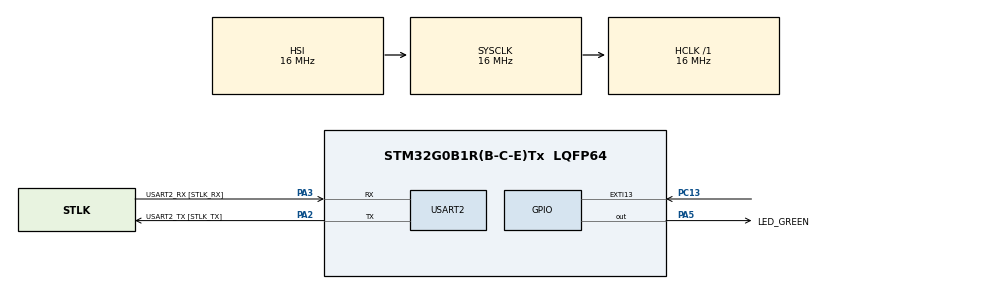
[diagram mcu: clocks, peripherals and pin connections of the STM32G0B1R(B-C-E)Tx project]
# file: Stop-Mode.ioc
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IWDG.Prescaler=IWDG_PRESCALER_256
IWDG.Reload=500
Mcu.Family=STM32G0
Mcu.Name=STM32G0B1R(B-C-E)Tx
Mcu.Package=LQFP64
NVIC.EXTI4_15_IRQn=true\:0\:0\:false\:false\:true\:true\:true\:true
PA13.GPIO_Label=TMS
PA13.Mode=Serial_Wire
PA13.Signal=SYS_SWDIO
PA14-BOOT0.GPIO_Label=TCK
PA14-BOOT0.Mode=Serial_Wire
PA14-BOOT0.Signal=SYS_SWCLK
PA2.GPIO_Label=USART2_TX [STLK_TX]
PA2.Mode=Asynchronous
PA2.Signal=USART2_TX
PA3.GPIO_Label=USART2_RX [STLK_RX]
PA3.Mode=Asynchronous
PA3.Signal=USART2_RX
PA5.GPIO_Label=LED_GREEN
PA5.GPIO_Speed=GPIO_SPEED_FREQ_HIGH
PA5.Signal=GPIO_Output
PC13.GPIO_ModeDefaultEXTI=GPIO_MODE_IT_FALLING
PC13.Signal=GPXTI13
PC14-OSC32_IN\ (PC14).Mode=LSE-External-Oscillator
PC14-OSC32_IN\ (PC14).Signal=RCC_OSC32_IN
PC15-OSC32_OUT\ (PC15).Mode=LSE-External-Oscillator
PC15-OSC32_OUT\ (PC15).Signal=RCC_OSC32_OUT
PF0-OSC_IN\ (PF0).GPIO_Label=MCO
PF0-OSC_IN\ (PF0).Mode=HSE-External-Clock-Source
PF0-OSC_IN\ (PF0).Signal=RCC_OSC_IN
ProjectManager.HeapSize=0x200
ProjectManager.StackSize=0x400
ProjectManager.TargetToolchain=STM32CubeIDE
RCC.AHBFreq_Value=16000000
RCC.CortexFreq_Value=16000000
RCC.EXTERNAL_CLOCK_VALUE=12288000
RCC.HCLKFreq_Value=16000000
RCC.HSE_VALUE=8000000
RCC.HSI48_VALUE=48000000
RCC.HSI_VALUE=16000000
RCC.SYSCLKFreq_VALUE=16000000
RCC.USBFreq_Value=48000000
RCC.VCOOutputFreq_Value=128000000
RTC.Date=28
RTC.WeekDay=RTC_WEEKDAY_WEDNESDAY
RTC.Year=26
USART2.VirtualMode-Asynchronous=VM_ASYNC
VP_IWDG_VS_IWDG.Mode=IWDG_Activate
VP_RTC_VS_RTC_Activate.Mode=RTC_Enabled
VP_RTC_VS_RTC_Calendar.Mode=RTC_Calendar
VP_SYS_VS_DBSignals.Mode=DisableDeadBatterySignals
board=NUCLEO-G0B1RE

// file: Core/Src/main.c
/* USER CODE BEGIN Header */
/**
  ******************************************************************************
  * @file           : main.c
  * @brief          : Main program body
  ******************************************************************************
  * @attention
  *
  * Copyright (c) 2026 STMicroelectronics.
  * All rights reserved.
  *
  * This software is licensed under terms that can be found in the LICENSE file
  * in the root directory of this software component.
  * If no LICENSE file comes with this software, it is provided AS-IS.
  *
  ******************************************************************************
  */
/* USER CODE END Header */
#include "main.h"

/* USER CODE BEGIN Includes */
#include <stdio.h>
/* USER CODE END Includes */

IWDG_HandleTypeDef hiwdg;

RTC_HandleTypeDef hrtc;

UART_HandleTypeDef huart2;

/* USER CODE BEGIN PV */
uint8_t delay = 200;
RTC_TimeTypeDef hTime = {0};
RTC_DateTypeDef hDate = {0};

/* USER CODE END PV */

void SystemClock_Config(void);
static void MX_GPIO_Init(void);
static void MX_USART2_UART_Init(void);
static void MX_RTC_Init(void);
static void MX_IWDG_Init(void);

int main(void)
{

  /* USER CODE BEGIN 1 */
	uint8_t count = 0;
  /* USER CODE END 1 */

  /* MCU Configuration--------------------------------------------------------*/

  /* Reset of all peripherals, Initializes the Flash interface and the Systick. */
  HAL_Init();

  /* Configure the system clock */
  SystemClock_Config();

  /* Initialize all configured peripherals */
  MX_GPIO_Init();
  MX_USART2_UART_Init();
  MX_RTC_Init();
  MX_IWDG_Init();
  /* USER CODE BEGIN 2 */
  while(HAL_GPIO_ReadPin(GPIOC, GPIO_PIN_13) == GPIO_PIN_RESET)		// Wait realese Boton
	  HAL_IWDG_Refresh(&hiwdg);

  /* USER CODE END 2 */

  /* Infinite loop */
  /* USER CODE BEGIN WHILE */
  while (1)
  {
	  if(HAL_GPIO_ReadPin(GPIOC, GPIO_PIN_13) == GPIO_PIN_RESET){
		  HAL_Delay(50);		// Delay of 50 miliseconds
		  if(HAL_GPIO_ReadPin(GPIOC, GPIO_PIN_13) == GPIO_PIN_RESET){
			  while(HAL_GPIO_ReadPin(GPIOC, GPIO_PIN_13) == GPIO_PIN_RESET)	// Release the button
				  HAL_IWDG_Refresh(&hiwdg);

			  HAL_Delay(50);

			  // Disable Ports and Peripherals to decrease the  current consumption
			  // Except RTC and IWDG

			  // GPIOs in Analog mode to reduce current consumption
			  GPIOA->MODER |= 0xFFFFFFFF;
			  GPIOB->MODER |= 0xFFFFFFFF;
			  GPIOC->MODER |= 0xF3FFFFFF;		// PC13 is used to be Wake-up Pin
			  GPIOD->MODER |= 0xFFFFFFFF;
			  GPIOE->MODER |= 0xFFFFFFFF;
			  GPIOF->MODER |= 0xFFFFFFFF;

			  __HAL_RCC_GPIOA_CLK_DISABLE();
			  __HAL_RCC_GPIOB_CLK_DISABLE();
			  //__HAL_RCC_GPIOC_CLK_DISABLE();		// Not Disable C port Clock
			  __HAL_RCC_GPIOD_CLK_DISABLE();
			  __HAL_RCC_GPIOE_CLK_DISABLE();
			  __HAL_RCC_GPIOF_CLK_DISABLE();

			  if(HAL_UART_DeInit(&huart2) != HAL_OK)	// Disable UART
				  Error_Handler();

			  HAL_DBGMCU_DisableDBGStopMode();		// Disable Debugger

			  HAL_SuspendTick(); 						// SysTick interrupt will be disabled
			  HAL_NVIC_EnableIRQ(EXTI4_15_IRQn);		// Enable Pin Interrupt to exit of the STOP Mode

			  //HAL_PWREx_DisableFlashPowerDown(PWR_FLASHPD_STOP);	// Flash Memory is idle
			  HAL_PWREx_EnableFlashPowerDown(PWR_FLASHPD_STOP);		// Flash Memory is powered down

			  //HAL_PWREx_EnablePORMonitorSampling();		// enable ultra low power modes

			  //HAL_PWR_EnterSTOPMode(PWR_MAINREGULATOR_ON, PWR_STOPENTRY_WFI); 	// STOP0
			  HAL_PWR_EnterSTOPMode(PWR_LOWPOWERREGULATOR_ON, PWR_STOPENTRY_WFI); 	// STOP1
			  HAL_ResumeTick();			// SysTick interrupt will be enabled

			  // Reconfiguration Ports and Peripherals
			  MX_GPIO_Init();
			  MX_USART2_UART_Init();
			  HAL_PWREx_DisablePORMonitorSampling();		// disable ultra low power modes

			  delay = 100;
			  HAL_Delay(50);
			  while(HAL_GPIO_ReadPin(GPIOC, GPIO_PIN_13) == GPIO_PIN_RESET)
				  HAL_IWDG_Refresh(&hiwdg);		// Remember you can use option bytes (IWDG_STOP) to freeze IWDG counter
		  }

	}

	  // Toggle Led Pin
	  HAL_Delay(delay);
	  HAL_GPIO_TogglePin(LED_GREEN_GPIO_Port, LED_GREEN_Pin);

	  // Obtain the Date and Time
	  HAL_RTC_GetDate(&hrtc, &hDate, RTC_FORMAT_BIN);
	  HAL_RTC_GetTime(&hrtc, &hTime, RTC_FORMAT_BIN);

	  count++;
	  if(count == 10){
		  count = 0;
		  printf("%02d:%02d:%02d  %02d/%02d/20%02d\r\n",
				  hTime.Hours,
				  hTime.Minutes,
				  hTime.Seconds,
				  hDate.Date,
				  hDate.Month,
				  hDate.Year);
	  	  }

	  HAL_IWDG_Refresh(&hiwdg);		// Refresh IWDG,	Remember, uncheck IWDG_STDBY to Freeze IWDDG counter in standby mode

    /* USER CODE END WHILE */

  }
}

void SystemClock_Config(void)
{
  RCC_OscInitTypeDef RCC_OscInitStruct = {0};
  RCC_ClkInitTypeDef RCC_ClkInitStruct = {0};

  /** Configure the main internal regulator output voltage
  */
  HAL_PWREx_ControlVoltageScaling(PWR_REGULATOR_VOLTAGE_SCALE1);

  /** Initializes the RCC Oscillators according to the specified parameters
  * in the RCC_OscInitTypeDef structure.
  */
  RCC_OscInitStruct.OscillatorType = RCC_OSCILLATORTYPE_HSI|RCC_OSCILLATORTYPE_LSI;
  RCC_OscInitStruct.HSIState = RCC_HSI_ON;
  RCC_OscInitStruct.HSIDiv = RCC_HSI_DIV1;
  RCC_OscInitStruct.HSICalibrationValue = RCC_HSICALIBRATION_DEFAULT;
  RCC_OscInitStruct.LSIState = RCC_LSI_ON;
  RCC_OscInitStruct.PLL.PLLState = RCC_PLL_NONE;
  if (HAL_RCC_OscConfig(&RCC_OscInitStruct) != HAL_OK)
  {
    Error_Handler();
  }

  /** Initializes the CPU, AHB and APB buses clocks
  */
  RCC_ClkInitStruct.ClockType = RCC_CLOCKTYPE_HCLK|RCC_CLOCKTYPE_SYSCLK
                              |RCC_CLOCKTYPE_PCLK1;
  RCC_ClkInitStruct.SYSCLKSource = RCC_SYSCLKSOURCE_HSI;
  RCC_ClkInitStruct.AHBCLKDivider = RCC_SYSCLK_DIV1;
  RCC_ClkInitStruct.APB1CLKDivider = RCC_HCLK_DIV1;

  if (HAL_RCC_ClockConfig(&RCC_ClkInitStruct, FLASH_LATENCY_0) != HAL_OK)
  {
    Error_Handler();
  }
}

static void MX_IWDG_Init(void)
{

  hiwdg.Instance = IWDG;
  hiwdg.Init.Prescaler = IWDG_PRESCALER_256;
  hiwdg.Init.Window = 4095;
  hiwdg.Init.Reload = 500;
  if (HAL_IWDG_Init(&hiwdg) != HAL_OK)
  {
    Error_Handler();
  }

}

static void MX_RTC_Init(void)
{

  RTC_TimeTypeDef sTime = {0};
  RTC_DateTypeDef sDate = {0};

  /** Initialize RTC Only
  */
  hrtc.Instance = RTC;
  hrtc.Init.HourFormat = RTC_HOURFORMAT_24;
  hrtc.Init.AsynchPrediv = 127;
  hrtc.Init.SynchPrediv = 255;
  hrtc.Init.OutPut = RTC_OUTPUT_DISABLE;
  hrtc.Init.OutPutRemap = RTC_OUTPUT_REMAP_NONE;
  hrtc.Init.OutPutPolarity = RTC_OUTPUT_POLARITY_HIGH;
  hrtc.Init.OutPutType = RTC_OUTPUT_TYPE_OPENDRAIN;
  hrtc.Init.OutPutPullUp = RTC_OUTPUT_PULLUP_NONE;
  if (HAL_RTC_Init(&hrtc) != HAL_OK)
  {
    Error_Handler();
  }

  /** Initialize RTC and set the Time and Date
  */
  sTime.Hours = 0x0;
  sTime.Minutes = 0x0;
  sTime.Seconds = 0x0;
  sTime.SubSeconds = 0x0;
  sTime.DayLightSaving = RTC_DAYLIGHTSAVING_NONE;
  sTime.StoreOperation = RTC_STOREOPERATION_RESET;
  if (HAL_RTC_SetTime(&hrtc, &sTime, RTC_FORMAT_BCD) != HAL_OK)
  {
    Error_Handler();
  }
  sDate.WeekDay = RTC_WEEKDAY_WEDNESDAY;
  sDate.Month = RTC_MONTH_JANUARY;
  sDate.Date = 0x28;
  sDate.Year = 0x26;

  if (HAL_RTC_SetDate(&hrtc, &sDate, RTC_FORMAT_BCD) != HAL_OK)
  {
    Error_Handler();
  }

}

static void MX_USART2_UART_Init(void)
{

  huart2.Instance = USART2;
  huart2.Init.BaudRate = 115200;
  huart2.Init.WordLength = UART_WORDLENGTH_8B;
  huart2.Init.StopBits = UART_STOPBITS_1;
  huart2.Init.Parity = UART_PARITY_NONE;
  huart2.Init.Mode = UART_MODE_TX_RX;
  huart2.Init.HwFlowCtl = UART_HWCONTROL_NONE;
  huart2.Init.OverSampling = UART_OVERSAMPLING_16;
  huart2.Init.OneBitSampling = UART_ONE_BIT_SAMPLE_DISABLE;
  huart2.Init.ClockPrescaler = UART_PRESCALER_DIV1;
  huart2.AdvancedInit.AdvFeatureInit = UART_ADVFEATURE_NO_INIT;
  if (HAL_UART_Init(&huart2) != HAL_OK)
  {
    Error_Handler();
  }
  if (HAL_UARTEx_SetTxFifoThreshold(&huart2, UART_TXFIFO_THRESHOLD_1_8) != HAL_OK)
  {
    Error_Handler();
  }
  if (HAL_UARTEx_SetRxFifoThreshold(&huart2, UART_RXFIFO_THRESHOLD_1_8) != HAL_OK)
  {
    Error_Handler();
  }
  if (HAL_UARTEx_DisableFifoMode(&huart2) != HAL_OK)
  {
    Error_Handler();
  }

}

static void MX_GPIO_Init(void)
{
  GPIO_InitTypeDef GPIO_InitStruct = {0};

  /* GPIO Ports Clock Enable */
  __HAL_RCC_GPIOC_CLK_ENABLE();
  __HAL_RCC_GPIOF_CLK_ENABLE();
  __HAL_RCC_GPIOA_CLK_ENABLE();
  __HAL_RCC_GPIOB_CLK_ENABLE();
  __HAL_RCC_GPIOD_CLK_ENABLE();

  /*Configure GPIO pin Output Level */
  HAL_GPIO_WritePin(LED_GREEN_GPIO_Port, LED_GREEN_Pin, GPIO_PIN_RESET);

  /*Configure GPIO pins : PC11 PC12 PC0 PC1
                           PC2 PC3 PC4 PC5
                           PC6 PC7 PC8 PC9
                           PC10 */
  GPIO_InitStruct.Pin = GPIO_PIN_11|GPIO_PIN_12|GPIO_PIN_0|GPIO_PIN_1
                          |GPIO_PIN_2|GPIO_PIN_3|GPIO_PIN_4|GPIO_PIN_5
                          |GPIO_PIN_6|GPIO_PIN_7|GPIO_PIN_8|GPIO_PIN_9
                          |GPIO_PIN_10;
  GPIO_InitStruct.Mode = GPIO_MODE_ANALOG;
  GPIO_InitStruct.Pull = GPIO_NOPULL;
  HAL_GPIO_Init(GPIOC, &GPIO_InitStruct);

  /*Configure GPIO pin : PC13 */
  GPIO_InitStruct.Pin = GPIO_PIN_13;
  GPIO_InitStruct.Mode = GPIO_MODE_IT_FALLING;
  GPIO_InitStruct.Pull = GPIO_NOPULL;
  HAL_GPIO_Init(GPIOC, &GPIO_InitStruct);

  /*Configure GPIO pins : PF1 PF2 */
  GPIO_InitStruct.Pin = GPIO_PIN_1|GPIO_PIN_2;
  GPIO_InitStruct.Mode = GPIO_MODE_ANALOG;
  GPIO_InitStruct.Pull = GPIO_NOPULL;
  HAL_GPIO_Init(GPIOF, &GPIO_InitStruct);

  /*Configure GPIO pins : PA0 PA1 PA4 PA6
                           PA7 PA8 PA9 PA10
                           PA11 PA12 PA15 */
  GPIO_InitStruct.Pin = GPIO_PIN_0|GPIO_PIN_1|GPIO_PIN_4|GPIO_PIN_6
                          |GPIO_PIN_7|GPIO_PIN_8|GPIO_PIN_9|GPIO_PIN_10
                          |GPIO_PIN_11|GPIO_PIN_12|GPIO_PIN_15;
  GPIO_InitStruct.Mode = GPIO_MODE_ANALOG;
  GPIO_InitStruct.Pull = GPIO_NOPULL;
  HAL_GPIO_Init(GPIOA, &GPIO_InitStruct);

  /*Configure GPIO pin : LED_GREEN_Pin */
  GPIO_InitStruct.Pin = LED_GREEN_Pin;
  GPIO_InitStruct.Mode = GPIO_MODE_OUTPUT_PP;
  GPIO_InitStruct.Pull = GPIO_NOPULL;
  GPIO_InitStruct.Speed = GPIO_SPEED_FREQ_HIGH;
  HAL_GPIO_Init(LED_GREEN_GPIO_Port, &GPIO_InitStruct);

  /*Configure GPIO pins : PB0 PB1 PB2 PB10
                           PB11 PB12 PB13 PB14
                           PB15 PB3 PB4 PB5
                           PB6 PB7 PB8 PB9 */
  GPIO_InitStruct.Pin = GPIO_PIN_0|GPIO_PIN_1|GPIO_PIN_2|GPIO_PIN_10
                          |GPIO_PIN_11|GPIO_PIN_12|GPIO_PIN_13|GPIO_PIN_14
                          |GPIO_PIN_15|GPIO_PIN_3|GPIO_PIN_4|GPIO_PIN_5
                          |GPIO_PIN_6|GPIO_PIN_7|GPIO_PIN_8|GPIO_PIN_9;
  GPIO_InitStruct.Mode = GPIO_MODE_ANALOG;
  GPIO_InitStruct.Pull = GPIO_NOPULL;
  HAL_GPIO_Init(GPIOB, &GPIO_InitStruct);

  /*Configure GPIO pins : PD8 PD9 PD0 PD1
                           PD2 PD3 PD4 PD5
                           PD6 */
  GPIO_InitStruct.Pin = GPIO_PIN_8|GPIO_PIN_9|GPIO_PIN_0|GPIO_PIN_1
                          |GPIO_PIN_2|GPIO_PIN_3|GPIO_PIN_4|GPIO_PIN_5
                          |GPIO_PIN_6;
  GPIO_InitStruct.Mode = GPIO_MODE_ANALOG;
  GPIO_InitStruct.Pull = GPIO_NOPULL;
  HAL_GPIO_Init(GPIOD, &GPIO_InitStruct);

  /* EXTI interrupt init*/
  HAL_NVIC_SetPriority(EXTI4_15_IRQn, 0, 0);
  HAL_NVIC_EnableIRQ(EXTI4_15_IRQn);

  /* USER CODE BEGIN MX_GPIO_Init_2 */
  HAL_NVIC_DisableIRQ(EXTI4_15_IRQn);
  /* USER CODE END MX_GPIO_Init_2 */
}

/* USER CODE BEGIN 4 */
int _write(int file, char *ptr, int len)
{
    HAL_UART_Transmit(&huart2, (uint8_t*)ptr, len, HAL_MAX_DELAY);
    return len;
}
/* USER CODE END 4 */

void Error_Handler(void)
{
  __disable_irq();
  while (1)
  {
  }
}
